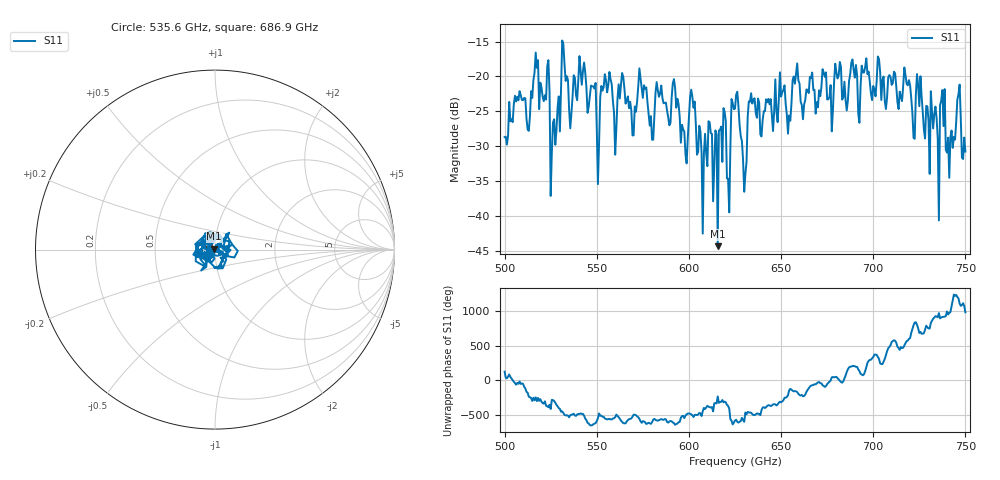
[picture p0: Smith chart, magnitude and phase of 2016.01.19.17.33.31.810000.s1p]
!Created with skrf (http://scikit-rf.org).
# GHz S RI R 50.0
!freq ReS11 ImS11
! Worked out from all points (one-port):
!   401 points, 500 GHz to 750 GHz, reference 50 ohm
!   lowest |S11| = -44.3 dB at 615.6 GHz (marker M1), VSWR 1.01, Z = 49.6 + j0.463 ohm
!   |S11| at or under -10 dB: start of sweep to end of sweep
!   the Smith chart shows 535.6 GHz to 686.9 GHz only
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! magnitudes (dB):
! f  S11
! 500 GHz  -28.7
! 513.1 GHz  -27.8
! 516.9 GHz  -16.6
! 523.1 GHz  -18.6
! 526.2 GHz  -26.6
! 531.2 GHz  -14.8
! 548.1 GHz  -21.4
! 551.2 GHz  -29.6
! 553.8 GHz  -21.5
! 560 GHz  -31.2
! 562.5 GHz  -23.2
! 580 GHz  -29.1
! 583.8 GHz  -22.9
! 593.8 GHz  -23.2
! 615.6 GHz  -44.3
! 618.8 GHz  -24.5
! 621.2 GHz  -34.7
! 625 GHz  -24.6
! 630 GHz  -36.5
! 633.8 GHz  -22.4
! 656.2 GHz  -20.5
! 687.5 GHz  -19.7
! 718.8 GHz  -21.3
! 734.4 GHz  -26.0
! 737.5 GHz  -22.0
! 740.6 GHz  -28.8
! 746.2 GHz  -22.5
! 750 GHz  -30.8
